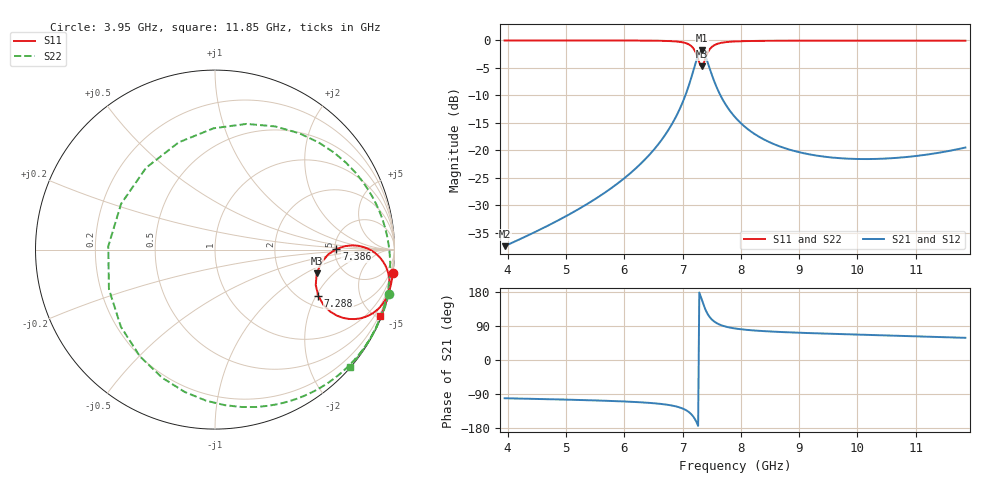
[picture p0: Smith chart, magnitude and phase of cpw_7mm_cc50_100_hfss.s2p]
! Touchstone file exported from HFSS 2025.2.0
!  File:  D:/lfl/Documents/Ansoft/06082026_005pf.aedt
!  Generated:  05:31:11 PM Jul 18, 2026
!  Design:  cpw_7mm1
!  Project:  06082026_005pf
!  Setup:  Setup1
!  Solution:  Sweep
# GHz S MA R 50.000000
! Terminal data exported
! Port[1] = 1
! Port[2] = 2
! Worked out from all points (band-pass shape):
!   401 points, 3.95 GHz to 11.85 GHz, reference 50 ohm
!   highest |S21| = -1.80 dB at 7.327 GHz (marker M1); lowest = -37.4 dB at 3.95 GHz (marker M2)
!   |S21| within 3 dB of the highest: 7.205 GHz to 7.457 GHz (251.8 MHz wide, 3.43 % of centre)
!   lowest |S11| = -4.7 dB at 7.327 GHz (marker M3), VSWR 3.78, Z = 161 - j64.6 ohm
!   |S11| at or under -10 dB: nowhere
!   |S22| runs from -4.7 to 0.0 dB; largest |S21 - S12| = 8.3e-11
!   S11 on the Smith chart (normalised r, x): 3.95 GHz: 0, -16; 7.288 GHz: 2.44, -2.09; 7.386 GHz: 5.17, +0.06; 11.85 GHz: 0.08, -5.14
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3.95  0.9999 -7.4  0.01349 -100.9  0.01349 -100.9  0.9999 -14.5
! Gamma 0 0 0 0
! Port Impedance 50 0 50 0
5.27325  0.9995 -10.3  0.03047 -105.6  0.03047 -105.6  0.9995 -21.0
6.0435  0.9983 -12.5  0.05827 -109.7  0.05827 -109.7  0.9983 -26.9
6.5965  0.9933 -15.3  0.1159 -115.4  0.1159 -115.4  0.9933 -35.5
6.952  0.9713 -19.5  0.238 -125.2  0.238 -125.2  0.9713 -51.0
7.0705  0.9403 -22.6  0.3404 -133.3  0.3404 -133.3  0.9403 -64.1
7.1495  0.8894 -25.6  0.4571 -143.0  0.4571 -143.0  0.8894 -80.4
7.189  0.8428 -27.3  0.5383 -150.4  0.5383 -150.4  0.8428 -93.4
7.2285  0.7724 -28.4  0.6351 -160.4  0.6351 -160.4  0.7725 -112.3
7.28775  0.6306 -24.1  0.7761 178.1  0.7761 178.1  0.6306 -159.6
7.32725  0.582 -13.2  0.8132 160.4  0.8132 160.4  0.582 154.1
7.36675  0.6309 -2.5  0.7759 143.1  0.7759 143.1  0.6309 108.7
7.3865  0.676 0.3  0.7369 135.4  0.7369 135.4  0.6761 90.6
7.426  0.7642 1.8  0.645 122.8  0.645 122.8  0.7642 63.9
7.4655  0.8303 0.9  0.5573 113.5  0.5573 113.5  0.8304 46.0
7.5445  0.9055 -1.9  0.4244 101.4  0.4244 101.4  0.9055 24.8
7.7025  0.9595 -6.0  0.2818 89.8  0.2818 89.8  0.9595 5.5
7.9  0.9796 -8.6  0.201 83.2  0.201 83.2  0.9796 -5.0
8.453  0.9926 -12.1  0.1216 75.7  0.1216 75.7  0.9926 -16.6
9.22325  0.9958 -14.7  0.09119 70.8  0.09119 70.8  0.9958 -23.7
10.5465  0.9964 -18.3  0.08478 64.7  0.08478 64.7  0.9964 -32.2
11.85  0.9943 -22.0  0.1064 58.5  0.1064 58.5  0.9943 -41.0
